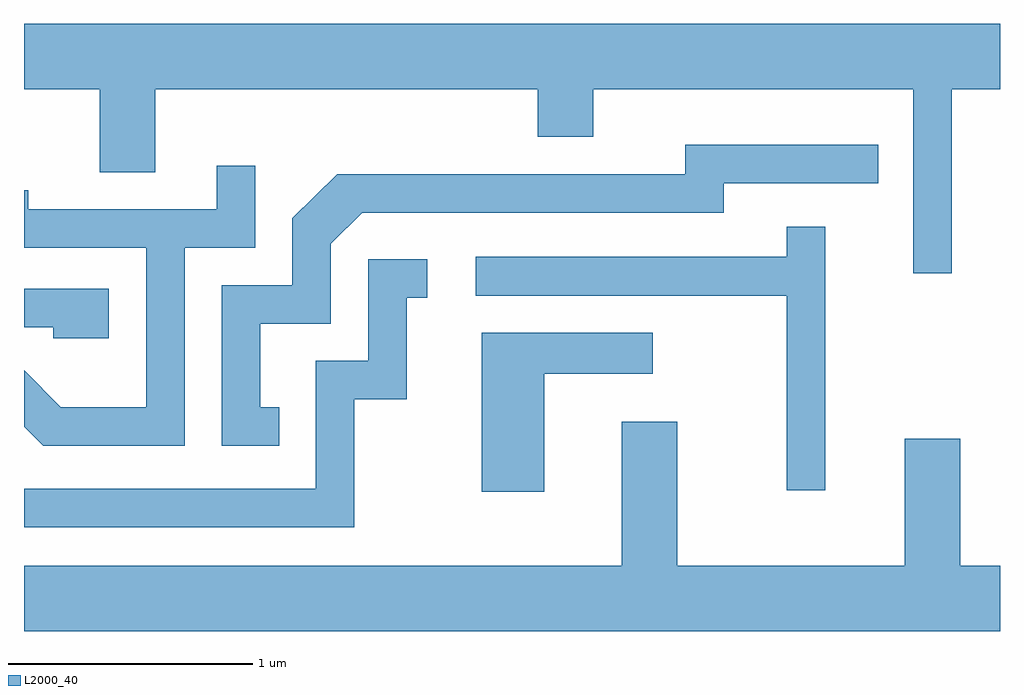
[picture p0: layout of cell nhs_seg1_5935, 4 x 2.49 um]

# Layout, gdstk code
import gdstk
lib = gdstk.Library(unit=1e-6, precision=1e-09)
def P(c, l, *ps):  # polygons
    for p in ps: c.add(gdstk.Polygon(p, *l))
L2000_40 = (2000, 40)

nhs_seg1_5935 = lib.new_cell('nhs_seg1_5935')
P(nhs_seg1_5935, L2000_40, [(363.611,937.316),(363.921,937.316),(363.921,936.976),(364.149,936.976),(364.149,937.316),(365.716,937.316),(365.716,937.121),(365.944,937.121),(365.944,937.316),(367.256,937.316),(367.256,936.563),(367.414,936.563),(367.414,937.316),(367.611,937.316),(367.611,937.584),(363.611,937.584)],
  [(364.658,936.014),(364.579,936.014),(364.579,936.356),(364.869,936.356),(364.869,936.684),(364.997,936.811),(366.479,936.811),(366.479,936.931),(367.113,936.931),(367.113,937.089),(366.321,937.089),(366.321,936.969),(364.894,936.969),(364.711,936.787),(364.711,936.514),(364.421,936.514),(364.421,935.856),(364.658,935.856)],
  [(364.269,936.666),(364.559,936.666),(364.559,937.003),(364.401,937.003),(364.401,936.824),(363.629,936.824),(363.629,936.903),(363.611,936.903),(363.611,936.666),(364.111,936.666),(364.111,936.014),(363.762,936.014),(363.611,936.165),(363.611,935.934),(363.689,935.856),(364.269,935.856)],
  [(366.894,936.753),(366.736,936.753),(366.736,936.629),(365.463,936.629),(365.463,936.471),(366.736,936.471),(366.736,935.673),(366.894,935.673)],
  [(364.964,936.046),(365.179,936.046),(365.179,936.461),(365.263,936.461),(365.263,936.619),(365.021,936.619),(365.021,936.204),(364.806,936.204),(364.806,935.679),(363.611,935.679),(363.611,935.521),(364.964,935.521)],
  [(363.959,936.499),(363.611,936.499),(363.611,936.341),(363.731,936.341),(363.731,936.296),(363.959,936.296)],
  [(365.744,936.151),(366.188,936.151),(366.188,936.319),(365.486,936.319),(365.486,935.666),(365.744,935.666)],
  [(367.611,935.364),(367.449,935.364),(367.449,935.884),(367.221,935.884),(367.221,935.364),(366.289,935.364),(366.289,935.954),(366.061,935.954),(366.061,935.364),(363.611,935.364),(363.611,935.096),(367.611,935.096)])

lib.write_gds('nhs_seg1_5935.gds')
